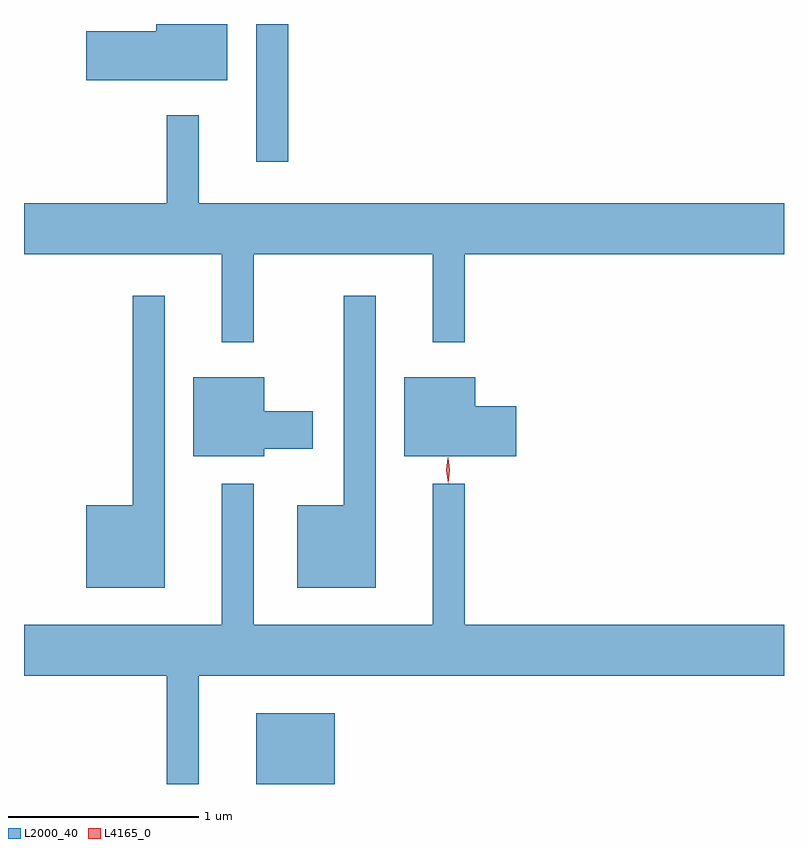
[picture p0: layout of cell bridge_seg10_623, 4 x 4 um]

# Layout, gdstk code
import gdstk
lib = gdstk.Library(unit=1e-6, precision=1e-09)
def R(c, l, rs):  # rectangles x0, y0, x1, y1
    for r in rs: c.add(gdstk.rectangle(r[:2], r[2:], *l))
def P(c, l, *ps):  # polygons
    for p in ps: c.add(gdstk.Polygon(p, *l))
L2000_40 = (2000, 40)
L4165_0 = (4165, 0)

bridge_seg10_623 = lib.new_cell('bridge_seg10_623')
R(bridge_seg10_623, L2000_40, [(720.871,2091.147,721.284,2091.519), (720.871,2094.423,721.039,2095.147)])
P(bridge_seg10_623, L2000_40, [(720.719,2095.147),(720.346,2095.147),(720.346,2095.109),(719.976,2095.109),(719.976,2094.851),(720.719,2094.851)],
  [(720.859,2093.936),(721.801,2093.936),(721.801,2093.472),(721.969,2093.472),(721.969,2093.936),(723.649,2093.936),(723.649,2094.204),(720.569,2094.204),(720.569,2094.668),(720.401,2094.668),(720.401,2094.204),(719.649,2094.204),(719.649,2093.936),(720.691,2093.936),(720.691,2093.472),(720.859,2093.472)],
  [(720.389,2093.718),(720.221,2093.718),(720.221,2092.614),(719.976,2092.614),(719.976,2092.181),(720.389,2092.181)],
  [(721.499,2093.718),(721.331,2093.718),(721.331,2092.614),(721.086,2092.614),(721.086,2092.181),(721.499,2092.181)],
  [(720.914,2092.911),(721.169,2092.911),(721.169,2093.109),(720.914,2093.109),(720.914,2093.289),(720.541,2093.289),(720.541,2092.871),(720.914,2092.871)],
  [(722.239,2093.134),(722.024,2093.134),(722.024,2093.289),(721.651,2093.289),(721.651,2092.871),(722.239,2092.871)],
  [(720.569,2091.716),(723.649,2091.716),(723.649,2091.984),(721.969,2091.984),(721.969,2092.728),(721.801,2092.728),(721.801,2091.984),(720.859,2091.984),(720.859,2092.728),(720.691,2092.728),(720.691,2091.984),(719.649,2091.984),(719.649,2091.716),(720.401,2091.716),(720.401,2091.147),(720.569,2091.147)])
P(bridge_seg10_623, L4165_0, [(721.881,2092.73),(721.881,2092.73),(721.871,2092.798),(721.88,2092.865),(721.881,2092.866),(721.881,2092.865),(721.891,2092.798),(721.882,2092.73)],
  [(721.881,2092.733),(721.881,2092.733),(721.871,2092.796),(721.88,2092.859),(721.881,2092.86),(721.881,2092.859),(721.891,2092.796),(721.882,2092.733)])

lib.write_gds('bridge_seg10_623.gds')
